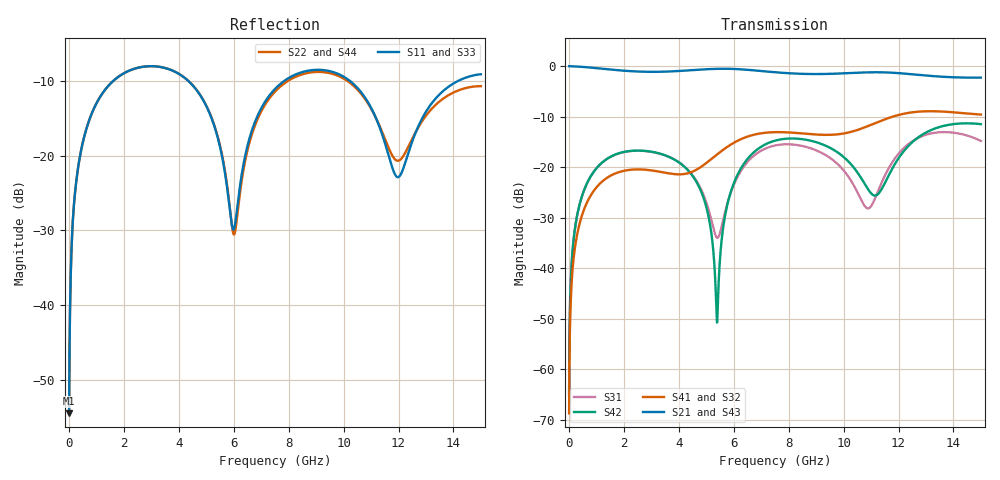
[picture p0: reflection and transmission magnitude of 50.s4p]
! Created with skrf 1.8.0 (http://scikit-rf.org).
# GHz S RI R 50.0
!freq ReS11 ImS11 ReS12 ImS12 ReS13 ImS13
! ReS14 ImS14
! ReS21 ImS21 ReS22 ImS22 ReS23 ImS23
! ReS24 ImS24
! ReS31 ImS31 ReS32 ImS32 ReS33 ImS33
! ReS34 ImS34
! ReS41 ImS41 ReS42 ImS42 ReS43 ImS43
! ReS44 ImS44
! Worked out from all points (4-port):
!   2499 points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, 5 MHz to 15 GHz, reference 50 ohm
!   strongest paths, dB at 5 MHz, 3.476 GHz, 7.19 GHz, 11.1 GHz, 15 GHz:
!     S21: 0.0, -1.1, -1.1, -1.2, -2.3
!     S43: 0.0, -1.1, -1.1, -1.2, -2.3
!     S41: -68.8, -21.1, -13.2, -11.4, -9.6
!     S32: -68.8, -21.2, -13.2, -11.4, -9.7
!     S42: -64.9, -17.6, -15.4, -25.6, -11.5
!     S31: -64.9, -17.6, -16.2, -26.8, -14.8
!   lowest |S11| = -54.5 dB at 5 MHz (marker M1), VSWR 1.00, Z = 50.2 + j0.115 ohm
!   |S11| at or under -10 dB: start of sweep to 1.606 GHz; 4.35 GHz to 7.831 GHz (3.48 GHz wide, 57.1 % of centre); 10.24 GHz to 14.16 GHz (3.922 GHz wide, 32.2 % of centre)
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0.005  0.0015 0.00115  0.9985 -0.00292  7.38e-05 0.000562  -7.19e-05 -0.000357
       0.9985 -0.00292  0.0015 0.00115  -7.19e-05 -0.000357  7.38e-05 0.000562
       7.38e-05 0.000562  -7.19e-05 -0.000357  0.0015 0.00115  0.9985 -0.00292
       -7.19e-05 -0.000357  7.38e-05 0.000562  0.9985 -0.00292  0.0015 0.00115
0.3126303  0.0207 0.0759  0.9719 -0.1824  0.00887 0.0337  -0.00747 -0.0213
           0.9719 -0.1824  0.0207 0.0759  -0.00746 -0.0213  0.00893 0.0337
           0.00887 0.0337  -0.00746 -0.0213  0.0207 0.0759  0.9719 -0.1825
           -0.00747 -0.0213  0.00893 0.0337  0.9719 -0.1825  0.0207 0.0759
1.519383  0.2384 0.1908  0.6177 -0.6874  0.1084 0.0654  -0.0806 -0.0168
          0.6177 -0.6874  0.2382 0.1909  -0.0805 -0.0169  0.1091 0.0646
          0.1084 0.0654  -0.0805 -0.0169  0.2385 0.1907  0.6176 -0.6875
          -0.0806 -0.0168  0.1091 0.0646  0.6176 -0.6875  0.2381 0.1909
5.389746  0.0688 -0.1196  -0.8677 -0.3614  -0.0189 -0.0064  -0.0461 0.1251
          -0.8677 -0.3614  0.0683 -0.1223  -0.0487 0.1241  -0.00284 -0.000521
          -0.0189 -0.0064  -0.0487 0.1241  0.0681 -0.1196  -0.8678 -0.3612
          -0.0461 0.1251  -0.00284 -0.000521  -0.8678 -0.3612  0.0687 -0.1218
6.396415  0.0563 0.0777  -0.9105 0.1552  0.0269 0.1001  0.0486 0.1896
          -0.9105 0.1552  0.0512 0.0726  0.0449 0.1903  0.0573 0.0945
          0.0269 0.1001  0.0449 0.1903  0.0562 0.0786  -0.9104 0.1555
          0.0486 0.1896  0.0573 0.0945  -0.9104 0.1555  0.0514 0.0727
9.322634  0.37 -0.0507  0.0291 0.8354  0.1178 -0.0611  0.1975 -0.0669
          0.0291 0.8354  0.3605 -0.0323  0.1977 -0.0595  0.1211 -0.1105
          0.1178 -0.0611  0.1977 -0.0595  0.3722 -0.0523  0.0292 0.8349
          0.1975 -0.0669  0.1211 -0.1105  0.0292 0.8349  0.3608 -0.0306
15  0.351 -0.0151  0.1803 -0.7481  0.1815 -0.00767  -0.3312 0.0123
    0.1803 -0.7481  0.2923 -0.00421  -0.3262 -0.00481  0.2169 -0.1542
    0.1815 -0.00767  -0.3262 -0.00481  0.3602 -0.0188  0.1796 -0.7465
    -0.3312 0.0123  0.2169 -0.1542  0.1796 -0.7465  0.2914 0.0038
